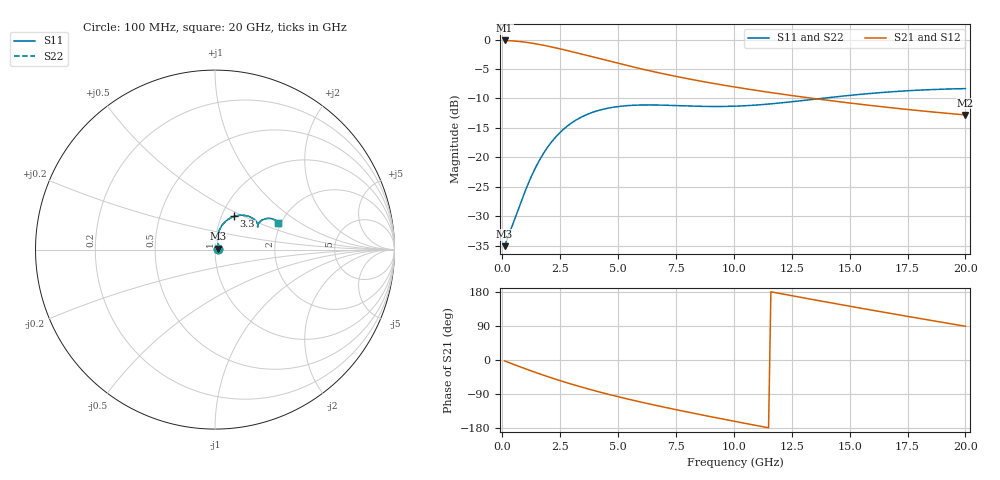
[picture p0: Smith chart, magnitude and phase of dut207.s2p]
! Touchstone file exported from HFSS 2024.1.0
!  File:  C:/UserFiles/LocalFiles/RDL_TSV_Batchsim/temp_RDL_TSV_207_1779445280.aedt
!  Generated:  06:40:26 PM May 22, 2026
!  Design:  RDL_TSV
!  Project:  temp_RDL_TSV_207_1779445280
!  Setup:  Setup1
!  Solution:  Sweep
! Variables:
!  dtsv = 8.99um
!  hbump = 3um
!  htsv = 96.61um
!  ldown = 345.08um
!  lrdl = 699.88um
!  p = 40
!  p1 = 58.68um
!  rhole = 10um
!  subl = 3834.76um
!  t = 450um
!  tdown = 3.75um
!  trdl = 4.94um
!  viad = 10um
!  wdown = 14um
!  wrdl = 22.59um
!  xbump = 18um
# GHz S MA R 50.000000
! Terminal data exported
! Port[1] = TM1_1_T1
! Port[2] = TM1_4_T1
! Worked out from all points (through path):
!   200 points, 100 MHz to 20 GHz, reference 50 ohm
!   highest |S21| = -0.15 dB at 100 MHz (marker M1); lowest = -12.8 dB at 20 GHz (marker M2)
!   group delay of S21, straight-line fit = 35.4 ps
!   lowest |S11| = -35.1 dB at 100 MHz (marker M3), VSWR 1.04, Z = 51.7 + j0.532 ohm
!   |S11| at or under -10 dB: start of sweep to 13.77 GHz
!   |S22| runs from -35.1 to -8.4 dB; largest |S21 - S12| = 9.6e-15
!   S11 on the Smith chart (normalised r, x): 100 MHz: 1.03, +0.01; 3.3 GHz: 1.15, +0.44; 20 GHz: 1.93, +0.68
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0.1  0.01761 17.0  0.9827 -2.4  0.9827 -2.4  0.01761 17.0
! Gamma 0 0 0 0
! Port Impedance 50 0 50 0
0.4  0.02537 47.1  0.9761 -9.5  0.9761 -9.5  0.02538 47.0
0.8  0.04134 68.7  0.9603 -18.7  0.9603 -18.7  0.04134 68.6
1.3  0.07198 78.3  0.9305 -29.9  0.9305 -29.9  0.07189 78.1
1.7  0.1018 78.2  0.9009 -38.5  0.9009 -38.5  0.1016 78.1
2  0.1252 76.0  0.8765 -44.7  0.8765 -44.7  0.1249 75.8
2.4  0.1557 71.6  0.8423 -52.6  0.8423 -52.6  0.1553 71.5
2.8  0.1837 66.5  0.8072 -60.3  0.8072 -60.3  0.1832 66.4
3.3  0.2136 60.1  0.7633 -69.3  0.7633 -69.3  0.213 60.0
3.5  0.2238 57.6  0.7461 -72.8  0.7461 -72.8  0.2231 57.5
4.3  0.2546 48.4  0.6804 -86.1  0.6804 -86.1  0.2537 48.3
5.1  0.2714 40.9  0.6214 -98.4  0.6214 -98.4  0.2703 40.8
5.9  0.278 35.3  0.5698 -109.8  0.5698 -109.8  0.2767 35.2
6.8  0.2779 31.0  0.5201 -122.0  0.5201 -122.0  0.2766 30.9
8.3  0.272 28.0  0.4536 -141.0  0.4536 -141.0  0.2706 28.0
10.1  0.2721 29.2  0.3937 -162.7  0.3937 -162.7  0.2707 29.2
11.6  0.2845 31.1  0.3548 179.9  0.3548 179.9  0.2832 31.2
13.4  0.3102 32.0  0.3169 159.6  0.3169 159.6  0.3091 32.2
15  0.3357 31.0  0.2893 142.0  0.2893 142.0  0.3347 31.1
16.7  0.359 28.7  0.2649 123.6  0.2649 123.6  0.3579 28.8
18.3  0.3744 25.9  0.2458 106.7  0.2458 106.7  0.3733 26.0
20  0.3834 23.0  0.2292 89.0  0.2292 89.0  0.3821 23.1
